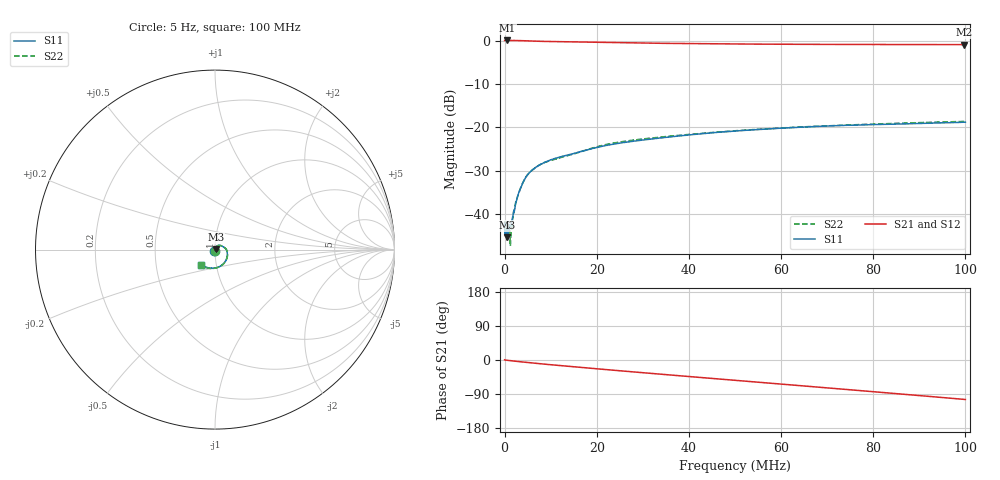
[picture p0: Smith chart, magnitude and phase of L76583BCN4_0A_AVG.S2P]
!Agilent Technologies,E5061B,MY49102235,A.02.00
!Date: Tue Jul 11 17:00:55 2023
!Data & Calibration Information:
!Freq	S11:SOLT2(ON)	S21:SOLT2(ON)	S12:SOLT2(ON)	S22:SOLT2(ON)
# Hz S RI R 50
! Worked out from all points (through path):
!   1600 points, 5 Hz to 100 MHz, reference 50 ohm
!   highest |S21| = 0.02 dB at 625.4 kHz (marker M1); lowest = -0.9 dB at 99.75 MHz (marker M2)
!   group delay of S21, straight-line fit = 2.83 ns
!   lowest |S11| = -45.4 dB at 500.3 kHz (marker M3), VSWR 1.01, Z = 50.5 + j0.256 ohm
!   |S11| at or under -10 dB: start of sweep to end of sweep
!   |S22| runs from -47.4 to -18.7 dB; largest |S21 - S12| = 0.0027
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5  -0.00522 -0.00564  1.002 0.00803  1.001 0.0102  -0.00147 -0.00755
500317.7  0.00475 0.00253  1.001 -0.0107  1.002 -0.0106  0.00493 0.000945
625395.8  0.0053 0.0031  1.002 -0.0142  1.002 -0.0138  0.00629 0.00274
1000630  0.0041 0.00517  1.001 -0.0224  1.001 -0.022  0.00546 0.00424
1313326  0.005 0.00561  1.001 -0.0295  1 -0.0294  0.00319 0.00406
1688560  0.0046 0.00743  0.9998 -0.0395  1.001 -0.0394  0.00436 0.0066
1938717  0.00414 0.00946  1.001 -0.0456  1 -0.0448  0.00443 0.00971
2251412  0.00465 0.0106  0.9991 -0.054  0.9987 -0.0527  0.00512 0.0113
2814264  0.00699 0.0143  0.9962 -0.0674  0.9964 -0.0666  0.00605 0.0146
3439655  0.00929 0.0175  0.9939 -0.082  0.9939 -0.0819  0.00817 0.0179
4065045  0.0119 0.0202  0.9904 -0.0967  0.9902 -0.0964  0.0114 0.0206
5315827  0.0187 0.023  0.9815 -0.1234  0.9814 -0.1231  0.0182 0.0234
7379617  0.0277 0.0233  0.9679 -0.163  0.9675 -0.1626  0.0272 0.0237
9380868  0.0345 0.0217  0.9545 -0.1991  0.9541 -0.1988  0.034 0.0219
1.669794e7  0.0512 0.012  0.9024 -0.3224  0.9022 -0.322  0.0509 0.012
2.345216e7  0.0635 -0.00165  0.8442 -0.426  0.844 -0.4255  0.0654 -0.00277
3.333334e7  0.0687 -0.0295  0.7438 -0.5582  0.7437 -0.5579  0.07 -0.0307
5.003127e7  0.0512 -0.0746  0.5413 -0.7349  0.5412 -0.7346  0.0511 -0.0754
6.672921e7  0.00795 -0.1013  0.3047 -0.8509  0.305 -0.8507  0.00879 -0.1017
8.33646e7  -0.0376 -0.1016  0.0458 -0.8987  0.0459 -0.8986  -0.0372 -0.1037
9.974984e7  -0.0773 -0.0842  -0.216 -0.8705  -0.2156 -0.8705  -0.0773 -0.0873
1e8  -0.0778 -0.084  -0.2199 -0.8696  -0.2197 -0.8695  -0.078 -0.0868
